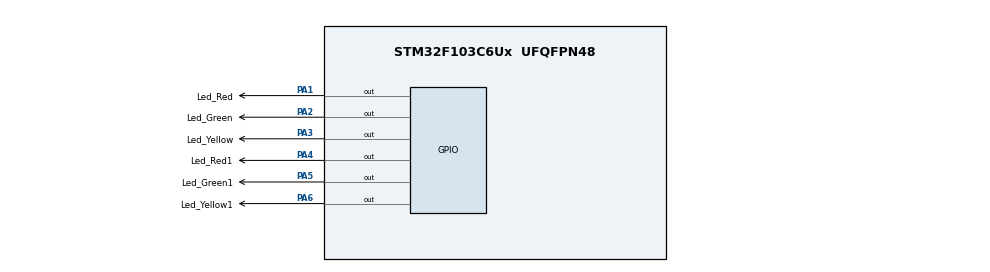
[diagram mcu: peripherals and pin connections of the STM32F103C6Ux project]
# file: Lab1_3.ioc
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Mcu.Family=STM32F1
Mcu.Name=STM32F103C6Ux
Mcu.Package=UFQFPN48
NVIC.PriorityGroup=NVIC_PRIORITYGROUP_4
PA1.GPIO_Label=Led_Red
PA1.Signal=GPIO_Output
PA2.GPIO_Label=Led_Green
PA2.Signal=GPIO_Output
PA3.GPIO_Label=Led_Yellow 
PA3.Signal=GPIO_Output
PA4.GPIO_Label=Led_Red1
PA4.Signal=GPIO_Output
PA5.GPIO_Label=Led_Green1
PA5.Signal=GPIO_Output
PA6.GPIO_Label=Led_Yellow1
PA6.Signal=GPIO_Output
ProjectManager.HeapSize=0x200
ProjectManager.StackSize=0x400
ProjectManager.TargetToolchain=STM32CubeIDE
RCC.APB1Freq_Value=8000000
RCC.APB2Freq_Value=8000000
VP_SYS_VS_ND.Mode=No_Debug
board=custom

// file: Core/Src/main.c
/* USER CODE BEGIN Header */
/**
  ******************************************************************************
  * @file           : main.c
  * @brief          : Main program body
  ******************************************************************************
  * @attention
  *
  * <h2><center>&copy; Copyright (c) 2022 STMicroelectronics.
  * All rights reserved.</center></h2>
  *
  * This software component is licensed by ST under BSD 3-Clause license,
  * the "License"; You may not use this file except in compliance with the
  * License. You may obtain a copy of the License at:
  *                        opensource.org/licenses/BSD-3-Clause
  *
  ******************************************************************************
  */
/* USER CODE END Header */
#include "main.h"

void SystemClock_Config(void);
static void MX_GPIO_Init(void);

void led_on(int counter);
void led_on_1(int counter);
int main(void)
{

  /* MCU Configuration--------------------------------------------------------*/

  /* Reset of all peripherals, Initializes the Flash interface and the Systick. */
  HAL_Init();

  /* Configure the system clock */
  SystemClock_Config();

  /* Initialize all configured peripherals */
  MX_GPIO_Init();

  /* Infinite loop */
  /* USER CODE BEGIN WHILE */
  int count_red= 0;
  int count_red1= 0;
  int count_green= 0;
  int count_green1= 0;
  int count_yellow= 0;
  int count_yellow1= 0;
  int led_status= 0;
  int led_status1= 1;
  while (1)
  {
	  if(led_status==0){
		  led_on(led_status);
		  count_red=count_red+ 1;
		  if(count_red==5){
			  led_status=1;
			  count_red=0;
		  }
	  }
	  else if(led_status==1){
	 		  led_on(led_status);
	 		  count_green++;
	 		  if(count_green==3){
	 			  led_status=2;
	 			  count_green=0;
	 		  }
	 	  }
	  else if(led_status==2){
	 		  led_on(led_status);
	 		  count_yellow++;
	 		  if(count_yellow==2){
	 			  led_status=0;
	 			  count_yellow=0;
	 		  }
	 	  }
	  if(led_status1==0){
		  	 led_on_1(led_status1);
		  	count_red1=count_red1+ 1;
		  			  if(count_red1==5){
		  				  led_status1=1;
		  				  count_red1=0;
		  			  }
	  }
	  else if(led_status1==1){
	 		  led_on_1(led_status1);
	 		  count_green1++;
	 		  if(count_green1==3){
	 			  led_status1=2;
	 			  count_green1=0;
	 		  }
	 	  }
	  else if(led_status1==2){
	 		  led_on_1(led_status1);
	 		  count_yellow1++;
	 		  if(count_yellow1==2){
	 			  led_status1= 0;
	 			  count_yellow1= 0;
	 		  }

	  }
    /* USER CODE END WHILE */

	  HAL_Delay(1000);
}
}
void led_on(int counter){
		switch(counter){
		case 0:
			HAL_GPIO_WritePin(Led_Red_GPIO_Port,Led_Red_Pin,RESET );
			HAL_GPIO_WritePin(Led_Yellow_GPIO_Port,Led_Yellow_Pin,SET );
			HAL_GPIO_WritePin(Led_Green_GPIO_Port,Led_Green_Pin,SET );
		break;
		case 1:
			HAL_GPIO_WritePin(Led_Red_GPIO_Port,Led_Red_Pin,SET );
			HAL_GPIO_WritePin(Led_Yellow_GPIO_Port,Led_Yellow_Pin,SET );
			HAL_GPIO_WritePin(Led_Green_GPIO_Port,Led_Green_Pin,RESET );
		break;
		case 2:
			HAL_GPIO_WritePin(Led_Red_GPIO_Port,Led_Red_Pin,SET );
			HAL_GPIO_WritePin(Led_Yellow_GPIO_Port,Led_Yellow_Pin,RESET );
			HAL_GPIO_WritePin(Led_Green_GPIO_Port,Led_Green_Pin,SET );
		break;
		}
}
void led_on_1(int counter){
		switch(counter){
		case 0:
			HAL_GPIO_WritePin(Led_Red1_GPIO_Port,Led_Red1_Pin,RESET );
			HAL_GPIO_WritePin(Led_Yellow1_GPIO_Port,Led_Yellow1_Pin,SET );
			HAL_GPIO_WritePin(Led_Green1_GPIO_Port,Led_Green1_Pin,SET );
		break;
		case 1:
			HAL_GPIO_WritePin(Led_Red1_GPIO_Port,Led_Red1_Pin,SET );
			HAL_GPIO_WritePin(Led_Yellow1_GPIO_Port,Led_Yellow1_Pin,SET );
			HAL_GPIO_WritePin(Led_Green1_GPIO_Port,Led_Green1_Pin,RESET );
		break;
		case 2:
			HAL_GPIO_WritePin(Led_Red1_GPIO_Port,Led_Red1_Pin,SET );
			HAL_GPIO_WritePin(Led_Yellow1_GPIO_Port,Led_Yellow1_Pin,RESET );
			HAL_GPIO_WritePin(Led_Green1_GPIO_Port,Led_Green1_Pin,SET );
		break;
		}
}
void SystemClock_Config(void)
{
  RCC_OscInitTypeDef RCC_OscInitStruct = {0};
  RCC_ClkInitTypeDef RCC_ClkInitStruct = {0};

  /** Initializes the RCC Oscillators according to the specified parameters
  * in the RCC_OscInitTypeDef structure.
  */
  RCC_OscInitStruct.OscillatorType = RCC_OSCILLATORTYPE_HSI;
  RCC_OscInitStruct.HSIState = RCC_HSI_ON;
  RCC_OscInitStruct.HSICalibrationValue = RCC_HSICALIBRATION_DEFAULT;
  RCC_OscInitStruct.PLL.PLLState = RCC_PLL_NONE;
  if (HAL_RCC_OscConfig(&RCC_OscInitStruct) != HAL_OK)
  {
    Error_Handler();
  }
  /** Initializes the CPU, AHB and APB buses clocks
  */
  RCC_ClkInitStruct.ClockType = RCC_CLOCKTYPE_HCLK|RCC_CLOCKTYPE_SYSCLK
                              |RCC_CLOCKTYPE_PCLK1|RCC_CLOCKTYPE_PCLK2;
  RCC_ClkInitStruct.SYSCLKSource = RCC_SYSCLKSOURCE_HSI;
  RCC_ClkInitStruct.AHBCLKDivider = RCC_SYSCLK_DIV1;
  RCC_ClkInitStruct.APB1CLKDivider = RCC_HCLK_DIV1;
  RCC_ClkInitStruct.APB2CLKDivider = RCC_HCLK_DIV1;

  if (HAL_RCC_ClockConfig(&RCC_ClkInitStruct, FLASH_LATENCY_0) != HAL_OK)
  {
    Error_Handler();
  }
}

static void MX_GPIO_Init(void)
{
  GPIO_InitTypeDef GPIO_InitStruct = {0};

  /* GPIO Ports Clock Enable */
  __HAL_RCC_GPIOA_CLK_ENABLE();

  /*Configure GPIO pin Output Level */
  HAL_GPIO_WritePin(GPIOA, Led_Red_Pin|Led_Green_Pin|Led_Yellow_Pin|Led_Red1_Pin
                          |Led_Green1_Pin|Led_Yellow1_Pin, GPIO_PIN_RESET);

  /*Configure GPIO pins : Led_Red_Pin Led_Green_Pin Led_Yellow_Pin Led_Red1_Pin
                           Led_Green1_Pin Led_Yellow1_Pin */
  GPIO_InitStruct.Pin = Led_Red_Pin|Led_Green_Pin|Led_Yellow_Pin|Led_Red1_Pin
                          |Led_Green1_Pin|Led_Yellow1_Pin;
  GPIO_InitStruct.Mode = GPIO_MODE_OUTPUT_PP;
  GPIO_InitStruct.Pull = GPIO_NOPULL;
  GPIO_InitStruct.Speed = GPIO_SPEED_FREQ_LOW;
  HAL_GPIO_Init(GPIOA, &GPIO_InitStruct);

}

void Error_Handler(void)
{
  __disable_irq();
  while (1)
  {
  }
}

/************************ (C) COPYRIGHT STMicroelectronics *****END OF FILE****/
